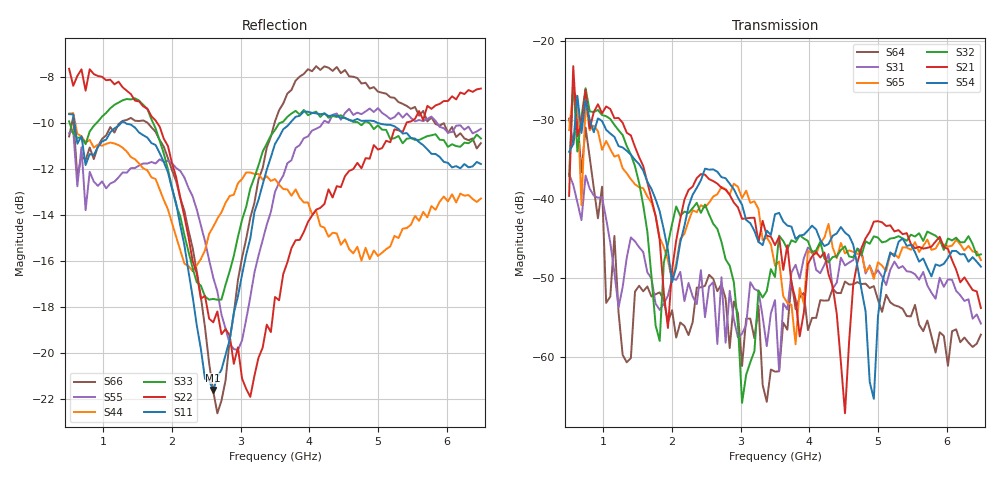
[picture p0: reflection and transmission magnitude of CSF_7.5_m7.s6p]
!Keysight Technologies,M9804A,MY58100912,A.14.10.03
!Date: Thursday, April 27, 2023 10:28:33
!Correction: S11(C  6-Port  )
!S12(C  6-Port  )
!S13(C  6-Port  )
!S14(C  6-Port  )
!S15(C  6-Port  )
!S16(C  6-Port  )
!S21(C  6-Port  )
!S22(C  6-Port  )
!S23(C  6-Port  )
!S24(C  6-Port  )
!S25(C  6-Port  )
!S26(C  6-Port  )
!S31(C  6-Port  )
!S32(C  6-Port  )
!S33(C  6-Port  )
!S34(C  6-Port  )
!S35(C  6-Port  )
!S36(C  6-Port  )
!S41(C  6-Port  )
!S42(C  6-Port  )
!S43(C  6-Port  )
!S44(C  6-Port  )
!S45(C  6-Port  )
!S46(C  6-Port  )
!S51(C  6-Port  )
!S52(C  6-Port  )
!S53(C  6-Port  )
!S54(C  6-Port  )
!S55(C  6-Port  )
!S56(C  6-Port  )
!S61(C  6-Port  )
!S62(C  6-Port  )
!S63(C  6-Port  )
!S64(C  6-Port  )
!S65(C  6-Port  )
!S66(C  6-Port  )
!S6P File: Measurement: :
# Hz S  RI  R 50
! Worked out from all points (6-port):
!   101 points, 500 MHz to 6.5 GHz, reference 50 ohm
!   strongest paths, dB at 500 MHz, 2 GHz, 3.5 GHz, 5 GHz, 6.5 GHz:
!     S54: -34.0, -50.5, -41.9, -54.9, -48.5
!     S21: -39.6, -49.0, -45.8, -42.8, -53.8
!     S32: -37.1, -43.2, -49.9, -44.9, -47.0
!     S65: -31.3, -50.3, -48.4, -48.0, -47.7
!     S31: -36.9, -50.1, -52.8, -49.0, -55.7
!     S64: -29.8, -54.1, -61.8, -52.7, -57.1
!   lowest |S11| = -21.6 dB at 2.6 GHz (marker M1), VSWR 1.18, Z = 42.6 + j2.1 ohm
!   |S11| at or under -10 dB: 578 MHz to 1.254 GHz (676.3 MHz wide, 73.8 % of centre); 1.326 GHz to 3.716 GHz (2.39 GHz wide, 94.8 % of centre); 5.008 GHz to end of sweep
